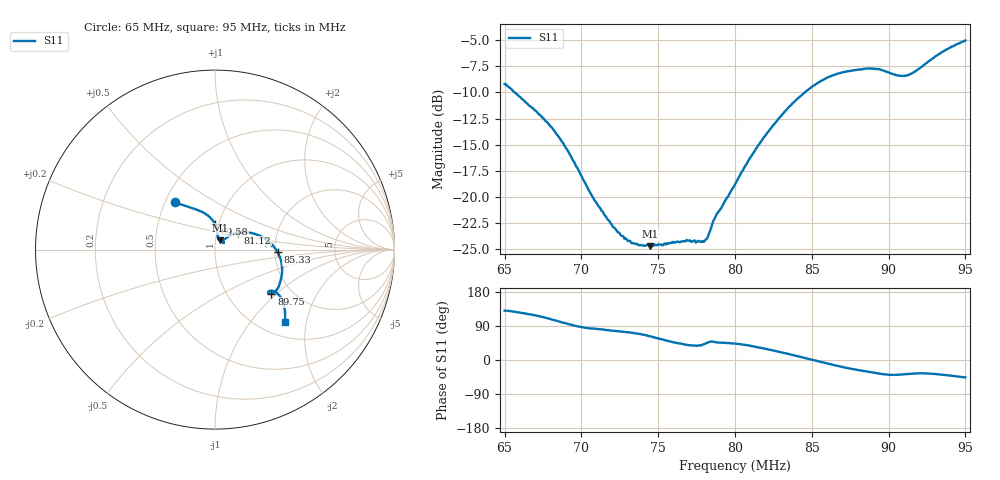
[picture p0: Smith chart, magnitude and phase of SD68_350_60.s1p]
! NanoVNA-App
! Date: 2025-08-09 13:02:33
! Start: 65MHz Stop: 95MHz Points: 401
! S-Parameter data: F S11
# Hz S RI R 50
!  Frequency  S11_Real  S11_Imag
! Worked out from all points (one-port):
!   401 points, 65 MHz to 95 MHz, reference 50 ohm
!   lowest |S11| = -24.7 dB at 74.45 MHz (marker M1), VSWR 1.12, Z = 52.4 + j5.46 ohm
!   |S11| at or under -10 dB: 65.65 MHz to 84.54 MHz (18.89 MHz wide, 25.2 % of centre)
!   S11 on the Smith chart (normalised r, x): 65 MHz: 0.56, +0.34; 69.58 MHz: 0.96, +0.28; 81.12 MHz: 1.27, +0.25; 85.33 MHz: 2.07, -0.06; 89.75 MHz: 1.58, -0.93; 95 MHz: 1.29, -1.50
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6.5e7  -0.223 0.2651
6.7475e7  -0.0948 0.2196
6.875e7  -0.0282 0.1808
6.9575e7  -0.00157 0.1448
7.0925e7  0.0128 0.0943
7.19e7  0.0161 0.0733
7.25e7  0.0168 0.0649
7.34e7  0.0196 0.057
7.445e7  0.0266 0.0519
7.625e7  0.0437 0.0431
7.805e7  0.0454 0.0423
7.8275e7  0.045 0.0484
7.8725e7  0.0549 0.0588
8e7  0.0836 0.0788
8.1125e7  0.1286 0.0942
8.2475e7  0.1989 0.0933
8.375e7  0.273 0.0647
8.5325e7  0.3485 -0.0137
8.6225e7  0.3698 -0.073
8.75e7  0.3682 -0.1551
8.8775e7  0.3498 -0.2172
8.975e7  0.314 -0.2458
9.05e7  0.2954 -0.2413
9.125e7  0.3053 -0.2294
9.1925e7  0.333 -0.235
9.26e7  0.3615 -0.2589
9.3575e7  0.3845 -0.3136
9.5e7  0.3891 -0.4019
